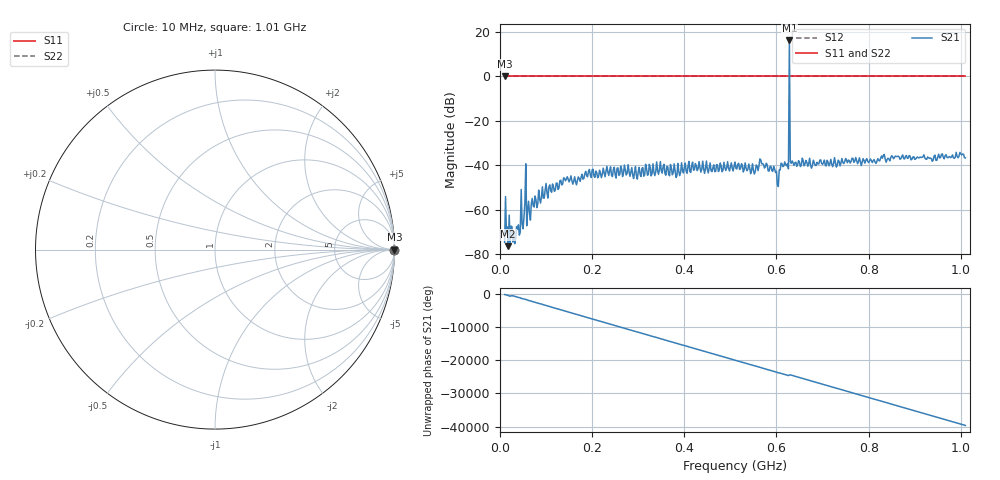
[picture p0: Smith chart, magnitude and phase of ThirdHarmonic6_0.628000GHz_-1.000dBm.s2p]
! 8/15/2025 8:42:36 PM
! C:\ANRITSUVNA\TEMP\TEMP.S2P
! CHANNEL.1
! TR.MEASUREMENT
! RAW.DATA
! RF.CORRECTION.OFF
! AVERAGING.OFF
! IF.BANDWIDTH: 5KHZ
! SWEEPTYPE:  FREQ.SWEEP(Linear)
! Reference Plane Port Info
! PORT:  PORT1  PORT2
! DISTANCE:  0  m  0  m
! TIME:  0  s  0  s
! PHASE.OFFSET:  0  deg.  0  deg.
! LOSS:  0  dB  0  dB
! REF.LOSS:  0  dB  0  dB
! REF.FREQ:  0  Hz  0  Hz
! Power Info
! POWER:  -20  dBm  -20  dBm
! EFF.POWER:  -20  dBm  -20  dBm
! SOURCE.ATTEN:  0  dB  0  dB
! TEST.ATTEN:  0  dB  0  dB
# GHZ S RI R 50.0
! FREQ.GHZ  S11RE  S11IM  S21RE  S21IM  S12RE  S12IM  S22RE  S22IM
!; PortSelection: Port_12
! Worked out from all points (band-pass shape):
!   501 points, 10 MHz to 1.01 GHz, reference 50 ohm
!   highest |S21| = 16.20 dB at 628 MHz (marker M1); lowest = -76.5 dB at 18 MHz (marker M2)
!   |S21| within 3 dB of the highest: 627.8963 MHz to 628.1097 MHz (213.3 kHz wide, 0.034 % of centre)
!   lowest |S11| = 0.0 dB at 10 MHz (marker M3)
!   |S11| at or under -10 dB: nowhere
!   |S22| runs from 0.0 to 0.0 dB; largest |S21 - S12| = 5.5
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0.01  1 0  -0.000181 -1.1e-06  1 0  1 0
0.016  1 0  0.000159 -0.000374  1 0  1 0
0.018  1 0  -9.9e-06 -0.000149  1 0  1 0
0.032  1 0  0.000125 -0.000115  1 0  1 0
0.058  1 0  0.000362 0.000231  1 0  1 0
0.062  1 0  -0.00151 -0.000311  1 0  1 0
0.096  1 0  0.000237 -0.00179  1 0  1 0
0.178  1 0  -0.00595 -0.00187  1 0  1 0
0.344  1 0  0.00621 0.000328  1 0  1 0
0.51  1 0  -0.0117 0.0004  1 0  1 0
0.548  1 0  -0.00273 0.0104  1 0  1 0
0.568  1 0  0.0104 0.00248  1 0  1 0
0.602  1 0  0.000366 0.00354  1 0  1 0
0.614  1 0  0.00883 -0.00279  1 0  1 0
0.622  1 0  0.0083 0.00491  1 0  1 0
0.624  1 0  0.00691 -0.00827  1 0  1 0
0.628  1 0  6.36 1.103  1 0  1 0
0.632  1 0  0.0109 -0.00138  1 0  1 0
0.634  1 0  -0.00349 -0.012  1 0  1 0
0.678  1 0  0.00451 -0.00868  1 0  1 0
0.844  1 0  -0.00367 0.0133  1 0  1 0
1.01  1 0  0.00394 -0.014  1 0  1 0
